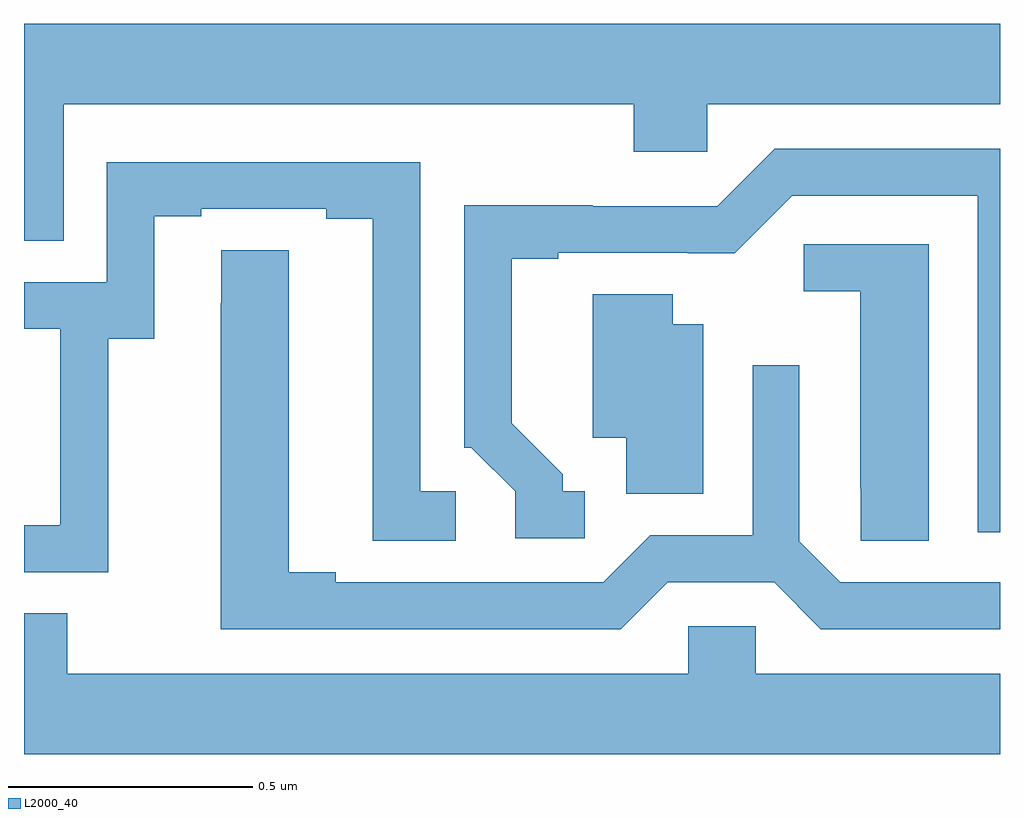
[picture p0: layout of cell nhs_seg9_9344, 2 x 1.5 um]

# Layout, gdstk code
import gdstk
lib = gdstk.Library(unit=1e-6, precision=1e-09)
def P(c, l, *ps):  # polygons
    for p in ps: c.add(gdstk.Polygon(p, *l))
L2000_40 = (2000, 40)

nhs_seg9_9344 = lib.new_cell('nhs_seg9_9344')
P(nhs_seg9_9344, L2000_40, [(229.081,1183.1),(230.249,1183.1),(230.249,1183.002),(230.4,1183.002),(230.4,1183.1),(231,1183.1),(231,1183.264),(229,1183.264),(229,1182.82),(229.081,1182.82)],
  [(230.149,1182.306),(230.104,1182.306),(230.104,1182.341),(229.999,1182.446),(229.999,1182.783),(230.095,1182.783),(230.095,1182.795),(230.36,1182.795),(230.36,1182.794),(230.456,1182.794),(230.574,1182.912),(230.954,1182.912),(230.954,1182.222),(231,1182.222),(231,1183.008),(230.538,1183.008),(230.421,1182.891),(230.165,1182.891),(230.165,1182.893),(229.902,1182.893),(229.902,1182.396),(229.917,1182.396),(230.007,1182.306),(230.007,1182.21),(230.149,1182.21)],
  [(229.173,1182.619),(229.267,1182.619),(229.267,1182.87),(229.363,1182.87),(229.363,1182.885),(229.619,1182.885),(229.619,1182.865),(229.715,1182.865),(229.715,1182.205),(229.885,1182.205),(229.885,1182.306),(229.812,1182.306),(229.812,1182.981),(229.17,1182.981),(229.17,1182.735),(229,1182.735),(229,1182.639),(229.074,1182.639),(229.074,1182.238),(229.073,1182.238),(229.073,1182.237),(229,1182.237),(229,1182.141),(229.173,1182.141)],
  [(230.854,1182.813),(230.598,1182.813),(230.598,1182.716),(230.714,1182.716),(230.714,1182.313),(230.715,1182.313),(230.715,1182.205),(230.854,1182.205)],
  [(230.319,1182.12),(230.537,1182.12),(230.633,1182.024),(231,1182.024),(231,1182.12),(230.673,1182.12),(230.589,1182.204),(230.589,1182.565),(230.493,1182.565),(230.493,1182.216),(230.283,1182.216),(230.187,1182.12),(229.639,1182.12),(229.639,1182.14),(229.543,1182.14),(229.543,1182.8),(229.404,1182.8),(229.404,1182.692),(229.403,1182.692),(229.403,1182.024),(230.223,1182.024)],
  [(230.392,1182.649),(230.329,1182.649),(230.329,1182.71),(230.165,1182.71),(230.165,1182.416),(230.234,1182.416),(230.234,1182.301),(230.392,1182.301)],
  [(231,1181.932),(230.499,1181.932),(230.499,1182.03),(230.361,1182.03),(230.361,1181.932),(229.089,1181.932),(229.089,1182.056),(229,1182.056),(229,1181.768),(231,1181.768)])

lib.write_gds('nhs_seg9_9344.gds')
